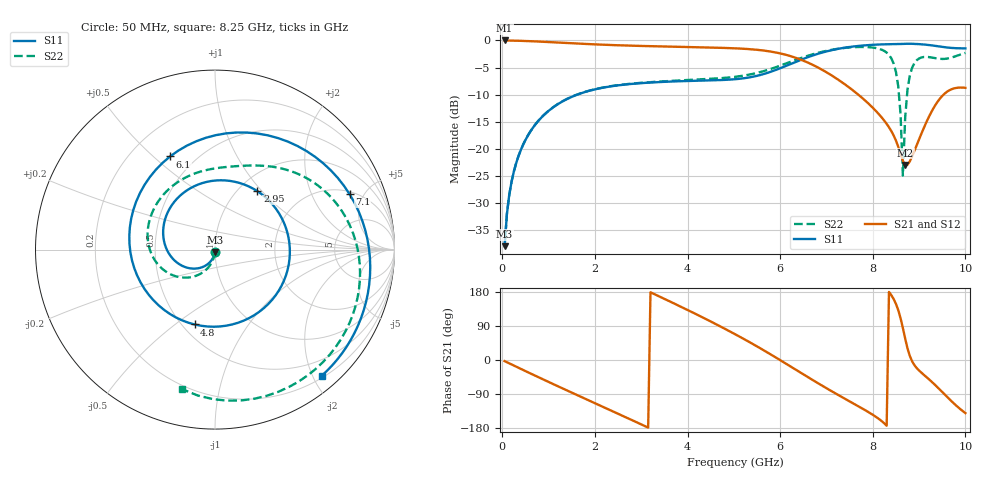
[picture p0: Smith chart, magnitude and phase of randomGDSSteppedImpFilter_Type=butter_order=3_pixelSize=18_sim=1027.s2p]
! freq	dB(S11)	phase(S11)	dB(S12)	phase(S12)
!  dB(S21)	phase(S21)	dB(S22)	phase(S22)
!S-par simulation data
#  GHz  S  DB  R 50
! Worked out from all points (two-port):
!   200 points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, 50 MHz to 10 GHz, reference 50 ohm
!   highest |S21| = -0.01 dB at 50 MHz (marker M1); lowest = -23.0 dB at 8.7 GHz (marker M2)
!   |S21| within 3 dB of the highest: start of sweep to 6.265 GHz
!   lowest |S11| = -38.0 dB at 50 MHz (marker M3), VSWR 1.03, Z = 49.9 - j1.26 ohm
!   |S11| at or under -10 dB: start of sweep to 1.619 GHz
!   |S22| runs from -37.9 to -1.2 dB; largest |S21 - S12| = 0
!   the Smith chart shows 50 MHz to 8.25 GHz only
!   S11 on the Smith chart (normalised r, x): 50 MHz: 1.00, -0.03; 2.95 GHz: 1.22, +0.94; 4.8 GHz: 0.58, -0.59; 6.1 GHz: 0.36, +0.57; 7.1 GHz: 2.17, +3.91; 8.25 GHz: 0.23, -2.14
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0.05  -37.96 -93.4  -0.01 -3.0  -0.01 -3.0  -37.94 -92.2
0.2  -26.07 -104.4  -0.03 -11.8  -0.03 -11.8  -26.06 -99.5
0.5  -18.37 -125.9  -0.10 -29.2  -0.10 -29.2  -18.35 -113.6
1.75  -9.61 145.2  -0.63 -100.0  -0.63 -100.0  -9.59 -166.6
2.95  -7.91 54.0  -1.01 -167.1  -1.01 -167.1  -7.85 151.0
3.4  -7.68 17.5  -1.10 167.2  -1.10 167.2  -7.59 136.3
4.8  -7.28 -105.2  -1.39 82.8  -1.39 82.8  -6.91 91.0
5.05  -7.14 -130.1  -1.47 66.6  -1.47 66.6  -6.69 83.2
5.6  -6.31 170.9  -1.82 28.9  -1.82 28.9  -5.77 65.6
6.1  -4.79 115.7  -2.60 -7.7  -2.60 -7.7  -4.34 46.2
6.7  -2.78 56.0  -4.49 -52.7  -4.49 -52.7  -2.56 15.4
7.1  -1.82 22.4  -6.39 -81.6  -6.39 -81.6  -1.75 -8.8
7.7  -1.01 -19.0  -10.09 -122.8  -10.09 -122.8  -1.21 -49.9
8.25  -0.72 -49.7  -14.82 -167.4  -14.82 -167.4  -1.95 -103.3
8.35  -0.70 -54.7  -16.02 179.6  -16.02 179.6  -2.67 -119.0
8.55  -0.67 -64.2  -19.62 131.6  -19.62 131.6  -8.45 -170.5
8.65  -0.64 -68.8  -22.20 84.5  -22.20 84.5  -24.93 77.4
8.7  -0.62 -71.2  -22.97 56.4  -22.97 56.4  -14.19 -18.4
9  -0.68 -85.2  -18.24 -27.8  -18.24 -27.8  -3.33 -111.4
9.35  -1.01 -100.1  -11.95 -66.3  -11.95 -66.3  -3.27 170.1
9.65  -1.35 -110.8  -9.22 -102.8  -9.22 -102.8  -3.27 94.0
10  -1.47 -122.3  -8.75 -140.2  -8.75 -140.2  -2.30 23.9
